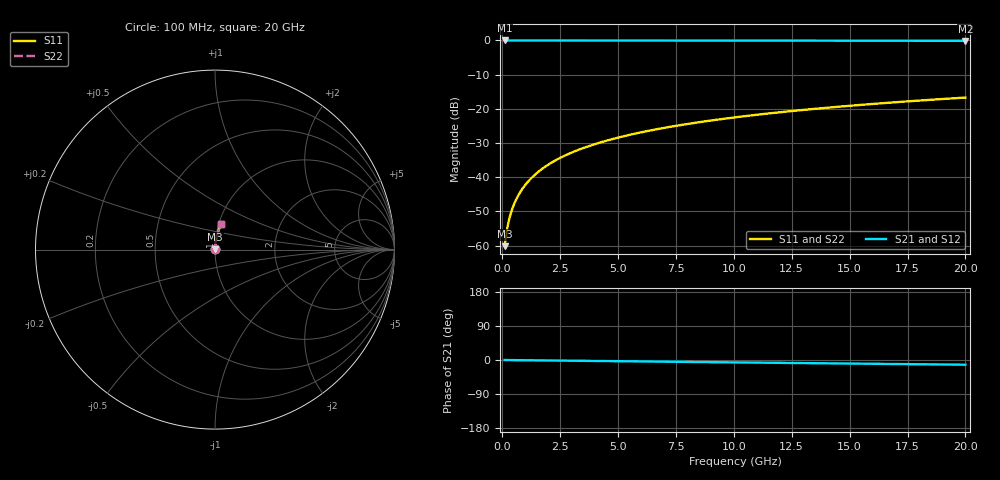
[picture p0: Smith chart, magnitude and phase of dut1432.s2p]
! Touchstone file exported from HFSS 2026.1.0
!  File:  C:/ffzhzh/LocalFiles/Ansys_Project_Files/temp_train_TMRDL_1432_1783166874_22436.aedt
!  Generated:  08:09:04 PM Jul  4, 2026
!  Design:  TMRDL
!  Project:  temp_train_TMRDL_1432_1783166874_22436
! Variables:
!  h_bsmrdl = 2um
!  h_ox = 20um
!  h_rdl = 5um
!  h_sub = 80um
!  h_tmrdl = 5.09um
!  h_tsv = 80um
!  h_via = 3um
!  l_bsmrdl = 300um
!  l_sub = 521.3um
!  l_tmrdl = 121.3um
!  m_sub = 200um
!  pitch = 59.06um
!  r_tsv = 6um
!  s_tmrdl = 10um
!  w_bsmrdl = 18um
!  w_sub = 500um
!  w_tmrdl = 20.55um
!  x_tsv_center1 = 131.575um
!  x_tsv_center2 = 449.575um
!  x_tsv_center3 = 591.425um
!  x_tsv_center4 = 909.425um
!  x_tsv_center5 = 1051.275um
!  x_tsv_center6 = 1369.275um
# GHz S MA R 50.000000
! Terminal data exported
! Port[1] = TM_RDL1_1_T1
! Port[2] = TM_RDL1_1_T2
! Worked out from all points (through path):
!   200 points, 100 MHz to 20 GHz, reference 50 ohm
!   highest |S21| = 0.00 dB at 100 MHz (marker M1); lowest = -0.1 dB at 20 GHz (marker M2)
!   group delay of S21, straight-line fit = 1.72 ps
!   lowest |S11| = -60.2 dB at 100 MHz (marker M3), VSWR 1.00, Z = 50.1 + j0.0807 ohm
!   |S11| at or under -10 dB: start of sweep to end of sweep
!   |S22| runs from -60.2 to -16.7 dB; largest |S21 - S12| = 1.2e-15
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0.1  0.0009797 55.4  0.9994 -0.1  0.9994 -0.1  0.0009797 55.4
! Gamma 0 0 0 0
! Port Impedance 50 0 50 0
0.2  0.001703 69.9  0.9994 -0.1  0.9994 -0.1  0.001703 69.9
0.3  0.002456 75.4  0.9994 -0.2  0.9994 -0.2  0.002456 75.4
0.4  0.003211 78.4  0.9994 -0.3  0.9994 -0.3  0.003211 78.4
0.5  0.003967 80.2  0.9993 -0.3  0.9993 -0.3  0.003967 80.2
0.7  0.005481 82.4  0.9993 -0.5  0.9993 -0.5  0.005481 82.4
0.8  0.00624 83.1  0.9993 -0.5  0.9993 -0.5  0.00624 83.1
1  0.007759 84.1  0.9992 -0.6  0.9992 -0.6  0.007759 84.1
1.2  0.009282 84.7  0.9992 -0.8  0.9992 -0.8  0.009282 84.7
1.4  0.0108 85.1  0.9992 -0.9  0.9992 -0.9  0.0108 85.1
1.7  0.01309 85.4  0.9991 -1.1  0.9991 -1.1  0.01309 85.4
2  0.01537 85.6  0.999 -1.3  0.999 -1.3  0.01537 85.6
2.7  0.02068 85.7  0.9988 -1.7  0.9988 -1.7  0.02068 85.7
3.5  0.02671 85.4  0.9986 -2.2  0.9986 -2.2  0.02671 85.4
4.2  0.03196 85.2  0.9983 -2.7  0.9983 -2.7  0.03196 85.2
5  0.03792 84.8  0.9979 -3.2  0.9979 -3.2  0.03792 84.8
6.8  0.05124 83.9  0.997 -4.3  0.997 -4.3  0.05124 83.9
8.3  0.06225 83.1  0.9962 -5.2  0.9962 -5.2  0.06225 83.1
10.1  0.07539 82.1  0.9951 -6.3  0.9951 -6.3  0.07539 82.1
13.4  0.09927 80.3  0.9927 -8.4  0.9927 -8.4  0.09927 80.2
16.7  0.1229 78.4  0.9898 -10.4  0.9898 -10.4  0.1229 78.4
20  0.1461 76.4  0.9864 -12.4  0.9864 -12.4  0.1461 76.4
